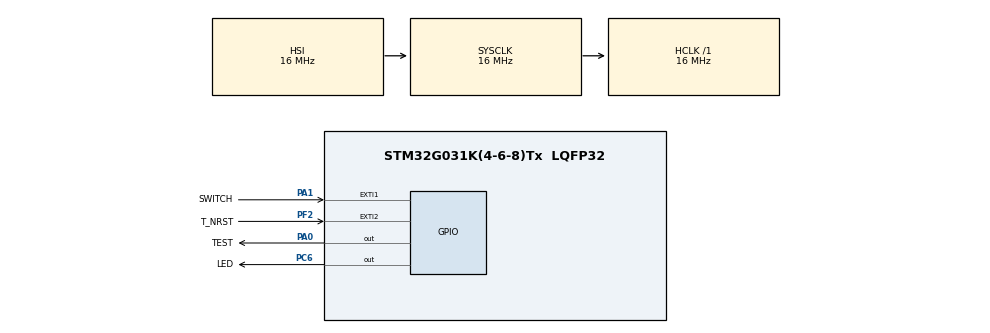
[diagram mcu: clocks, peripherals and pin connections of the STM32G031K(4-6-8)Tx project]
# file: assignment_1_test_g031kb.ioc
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Mcu.Family=STM32G0
Mcu.Name=STM32G031K(4-6-8)Tx
Mcu.Package=LQFP32
NVIC.EXTI0_1_IRQn=true\:0\:0\:false\:false\:true\:true\:true\:true
NVIC.TIM17_IRQn=true\:0\:0\:false\:false\:true\:true\:true\:true
PA0.GPIO_Label=TEST
PA0.Signal=GPIO_Output
PA1.GPIO_Label=SWITCH
PA1.GPIO_ModeDefaultEXTI=GPIO_MODE_IT_FALLING
PA1.GPIO_PuPd=GPIO_PULLUP
PA1.Signal=GPXTI1
PA13.GPIO_Label=T_JTMS
PA13.Mode=Serial_Wire
PA13.Signal=SYS_SWDIO
PA14-BOOT0.GPIO_Label=T_JTCK
PA14-BOOT0.Mode=Serial_Wire
PA14-BOOT0.Signal=SYS_SWCLK
PC14-OSC32_IN\ (PC14).Mode=LSE-External-Oscillator
PC14-OSC32_IN\ (PC14).Signal=RCC_OSC32_IN
PC15-OSC32_OUT\ (PC15).Mode=LSE-External-Oscillator
PC15-OSC32_OUT\ (PC15).Signal=RCC_OSC32_OUT
PC6.GPIO_Label=LED
PC6.Signal=GPIO_Output
PF2\ -\ NRST.GPIO_Label=T_NRST
PF2\ -\ NRST.Signal=GPXTI2
ProjectManager.HeapSize=0x200
ProjectManager.StackSize=0x400
ProjectManager.TargetToolchain=STM32CubeIDE
RCC.AHBFreq_Value=16000000
RCC.CortexFreq_Value=16000000
RCC.EXTERNAL_CLOCK_VALUE=12288000
RCC.HCLKFreq_Value=16000000
RCC.HSE_VALUE=8000000
RCC.HSI_VALUE=16000000
RCC.SYSCLKFreq_VALUE=16000000
RCC.VCOOutputFreq_Value=128000000
TIM17.Period=1000 - 1
TIM17.Prescaler=16000 -1
VP_TIM17_VS_ClockSourceINT.Mode=Enable_Timer
board=NUCLEO-G031K8

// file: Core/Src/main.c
/* USER CODE BEGIN Header */
/**
 ******************************************************************************
 * @file           : main.c
 * @brief          : Main program body
 ******************************************************************************
 * @attention
 *
 * Copyright (c) 2025 STMicroelectronics.
 * All rights reserved.
 *
 * This software is licensed under terms that can be found in the LICENSE file
 * in the root directory of this software component.
 * If no LICENSE file comes with this software, it is provided AS-IS.
 *
 ******************************************************************************
 */
/* USER CODE END Header */
#include "main.h"

TIM_HandleTypeDef htim17;

/* USER CODE BEGIN PV */
volatile uint8_t press_count = 0;
/* USER CODE END PV */

void SystemClock_Config(void);
static void MX_GPIO_Init(void);
static void MX_TIM17_Init(void);
/* USER CODE BEGIN PFP */
void low_power_mode();
/* USER CODE END PFP */

int main(void)
{

  /* MCU Configuration--------------------------------------------------------*/

  /* Reset of all peripherals, Initializes the Flash interface and the Systick. */
  HAL_Init();

  /* Configure the system clock */
  SystemClock_Config();

  /* Initialize all configured peripherals */
  MX_GPIO_Init();
  MX_TIM17_Init();

  /* Infinite loop */
  /* USER CODE BEGIN WHILE */
	while (1) {
		low_power_mode();
    /* USER CODE END WHILE */

	}
}

void SystemClock_Config(void)
{
  RCC_OscInitTypeDef RCC_OscInitStruct = {0};
  RCC_ClkInitTypeDef RCC_ClkInitStruct = {0};

  /** Configure the main internal regulator output voltage
  */
  HAL_PWREx_ControlVoltageScaling(PWR_REGULATOR_VOLTAGE_SCALE1);

  /** Initializes the RCC Oscillators according to the specified parameters
  * in the RCC_OscInitTypeDef structure.
  */
  RCC_OscInitStruct.OscillatorType = RCC_OSCILLATORTYPE_HSI;
  RCC_OscInitStruct.HSIState = RCC_HSI_ON;
  RCC_OscInitStruct.HSIDiv = RCC_HSI_DIV1;
  RCC_OscInitStruct.HSICalibrationValue = RCC_HSICALIBRATION_DEFAULT;
  RCC_OscInitStruct.PLL.PLLState = RCC_PLL_NONE;
  if (HAL_RCC_OscConfig(&RCC_OscInitStruct) != HAL_OK)
  {
    Error_Handler();
  }

  /** Initializes the CPU, AHB and APB buses clocks
  */
  RCC_ClkInitStruct.ClockType = RCC_CLOCKTYPE_HCLK|RCC_CLOCKTYPE_SYSCLK
                              |RCC_CLOCKTYPE_PCLK1;
  RCC_ClkInitStruct.SYSCLKSource = RCC_SYSCLKSOURCE_HSI;
  RCC_ClkInitStruct.AHBCLKDivider = RCC_SYSCLK_DIV1;
  RCC_ClkInitStruct.APB1CLKDivider = RCC_HCLK_DIV1;

  if (HAL_RCC_ClockConfig(&RCC_ClkInitStruct, FLASH_LATENCY_0) != HAL_OK)
  {
    Error_Handler();
  }
}

static void MX_TIM17_Init(void)
{

  htim17.Instance = TIM17;
  htim17.Init.Prescaler = 16000 -1;
  htim17.Init.CounterMode = TIM_COUNTERMODE_UP;
  htim17.Init.Period = 1000 - 1;
  htim17.Init.ClockDivision = TIM_CLOCKDIVISION_DIV1;
  htim17.Init.RepetitionCounter = 0;
  htim17.Init.AutoReloadPreload = TIM_AUTORELOAD_PRELOAD_DISABLE;
  if (HAL_TIM_Base_Init(&htim17) != HAL_OK)
  {
    Error_Handler();
  }

}

static void MX_GPIO_Init(void)
{
  GPIO_InitTypeDef GPIO_InitStruct = {0};

  /* GPIO Ports Clock Enable */
  __HAL_RCC_GPIOC_CLK_ENABLE();
  __HAL_RCC_GPIOF_CLK_ENABLE();
  __HAL_RCC_GPIOA_CLK_ENABLE();

  /*Configure GPIO pin Output Level */
  HAL_GPIO_WritePin(TEST_GPIO_Port, TEST_Pin, GPIO_PIN_RESET);

  /*Configure GPIO pin Output Level */
  HAL_GPIO_WritePin(LED_GPIO_Port, LED_Pin, GPIO_PIN_RESET);

  /*Configure GPIO pin : T_NRST_Pin */
  GPIO_InitStruct.Pin = T_NRST_Pin;
  GPIO_InitStruct.Mode = GPIO_MODE_IT_RISING;
  GPIO_InitStruct.Pull = GPIO_NOPULL;
  HAL_GPIO_Init(T_NRST_GPIO_Port, &GPIO_InitStruct);

  /*Configure GPIO pin : TEST_Pin */
  GPIO_InitStruct.Pin = TEST_Pin;
  GPIO_InitStruct.Mode = GPIO_MODE_OUTPUT_PP;
  GPIO_InitStruct.Pull = GPIO_NOPULL;
  GPIO_InitStruct.Speed = GPIO_SPEED_FREQ_LOW;
  HAL_GPIO_Init(TEST_GPIO_Port, &GPIO_InitStruct);

  /*Configure GPIO pin : SWITCH_Pin */
  GPIO_InitStruct.Pin = SWITCH_Pin;
  GPIO_InitStruct.Mode = GPIO_MODE_IT_FALLING;
  GPIO_InitStruct.Pull = GPIO_PULLUP;
  HAL_GPIO_Init(SWITCH_GPIO_Port, &GPIO_InitStruct);

  /*Configure GPIO pin : LED_Pin */
  GPIO_InitStruct.Pin = LED_Pin;
  GPIO_InitStruct.Mode = GPIO_MODE_OUTPUT_PP;
  GPIO_InitStruct.Pull = GPIO_NOPULL;
  GPIO_InitStruct.Speed = GPIO_SPEED_FREQ_LOW;
  HAL_GPIO_Init(LED_GPIO_Port, &GPIO_InitStruct);

  /* EXTI interrupt init*/
  HAL_NVIC_SetPriority(EXTI0_1_IRQn, 0, 0);
  HAL_NVIC_EnableIRQ(EXTI0_1_IRQn);

}

/* USER CODE BEGIN 4 */
void Update_Timer_Period(uint32_t period) {
    __HAL_TIM_SET_AUTORELOAD(&htim17, period - 1);
    __HAL_TIM_SET_COUNTER(&htim17, 0);
    HAL_TIM_Base_Start_IT(&htim17);
}

void HAL_GPIO_EXTI_Falling_Callback(uint16_t GPIO_Pin) {
	if (GPIO_Pin == SWITCH_Pin) {
		press_count = (press_count + 1) % 4;

		switch (press_count) {
		case 0:
			HAL_TIM_Base_Stop_IT(&htim17);
			HAL_GPIO_WritePin(LED_GPIO_Port, LED_Pin, GPIO_PIN_RESET);
			HAL_GPIO_WritePin(TEST_GPIO_Port, TEST_Pin, GPIO_PIN_RESET);
			break;
		case 1:
			Update_Timer_Period(2000);
			break;

		case 2:
			Update_Timer_Period(1000);
			break;

		case 3:
			Update_Timer_Period(500);
			break;
		}
	}
}

void HAL_TIM_PeriodElapsedCallback(TIM_HandleTypeDef *htim) {
	if (htim->Instance == TIM17) // Check if it is TIM3 interrupt
	{
		HAL_GPIO_TogglePin(LED_GPIO_Port, LED_Pin);
		HAL_GPIO_TogglePin(TEST_GPIO_Port, TEST_Pin);
	}
}

void low_power_mode(){
	HAL_SuspendTick();
	HAL_PWR_EnterSLEEPMode(PWR_MAINREGULATOR_ON,PWR_SLEEPENTRY_WFI);
	HAL_ResumeTick();
}

/* USER CODE END 4 */

void Error_Handler(void)
{
	__disable_irq();
	while (1) {
	}
}
